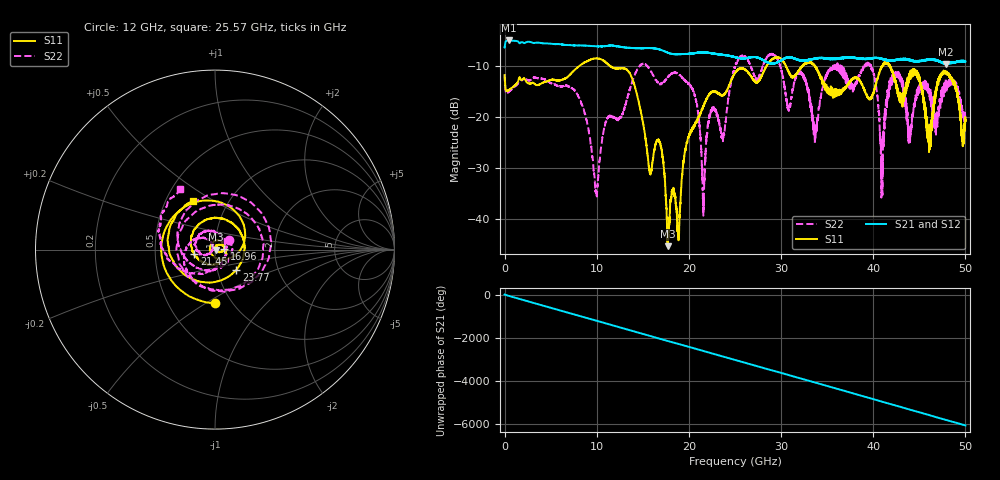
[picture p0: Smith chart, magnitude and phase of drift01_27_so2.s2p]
!Created with skrf (http://scikit-rf.org).
# Hz S RI R 50.0
!freq ReS11 ImS11 ReS21 ImS21 ReS12 ImS12 ReS22 ImS22
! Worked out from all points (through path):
!   10001 points, 300 kHz to 50 GHz, reference 50 ohm
!   highest |S21| = -5.05 dB at 425.3 MHz (marker M1); lowest = -9.6 dB at 47.85 GHz (marker M2)
!   group delay of S21, straight-line fit = 336 ps
!   lowest |S11| = -45.3 dB at 17.69 GHz (marker M3), VSWR 1.01, Z = 50.5 - j0.1 ohm
!   |S11| at or under -10 dB: start of sweep to 8.151 GHz; 11.41 GHz to 28.44 GHz (17.03 GHz wide, 85.5 % of centre); 41.8 GHz to end of sweep (the widest 3 of 14)
!   |S22| runs from -39.4 to -7.6 dB; largest |S21 - S12| = 0.012
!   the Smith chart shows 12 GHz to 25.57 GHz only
!   S11 on the Smith chart (normalised r, x): 12 GHz: 0.84, -0.55; 16.96 GHz: 1.11, +0.01; 21.45 GHz: 0.79, -0.04; 23.77 GHz: 1.23, -0.29; 25.57 GHz: 0.68, +0.40
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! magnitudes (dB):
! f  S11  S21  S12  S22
! 300 kHz  -11.8  -6.4  -6.5  -11.8
! 425.3 MHz  -14.8  -5.1  -5.1  -15.1
! 8.335 GHz  -9.7  -6.0  -6.0  -17.5
! 9.94 GHz  -8.6  -6.2  -6.2  -34.7
! 12 GHz  -10.5  -6.1  -6.1  -20.4
! 15.77 GHz  -31.0  -6.6  -6.6  -10.8
! 16.67 GHz  -24.5  -6.8  -6.7  -13.4
! 16.96 GHz  -25.9  -6.9  -6.9  -13.4
! 17.69 GHz  -45.3  -7.4  -7.4  -12.3
! 20.49 GHz  -22.2  -7.6  -7.5  -15.0
! 21.45 GHz  -18.6  -7.4  -7.4  -30.8
! 22.45 GHz  -15.1  -7.5  -7.5  -18.6
! 23.77 GHz  -15.6  -7.9  -7.9  -23.1
! 25 GHz  -11.4  -8.3  -8.4  -10.3
! 25.57 GHz  -10.6  -8.5  -8.5  -8.2
! 33.34 GHz  -9.5  -8.7  -8.7  -19.3
! 39.51 GHz  -16.5  -8.6  -8.6  -9.9
! 40.95 GHz  -10.1  -8.6  -8.6  -28.3
! 41.67 GHz  -9.8  -8.9  -9.0  -15.4
! 46.06 GHz  -24.5  -8.8  -8.7  -14.8
! 47.85 GHz  -11.4  -9.6  -9.5  -13.3
! 50 GHz  -20.8  -9.2  -9.1  -20.3
